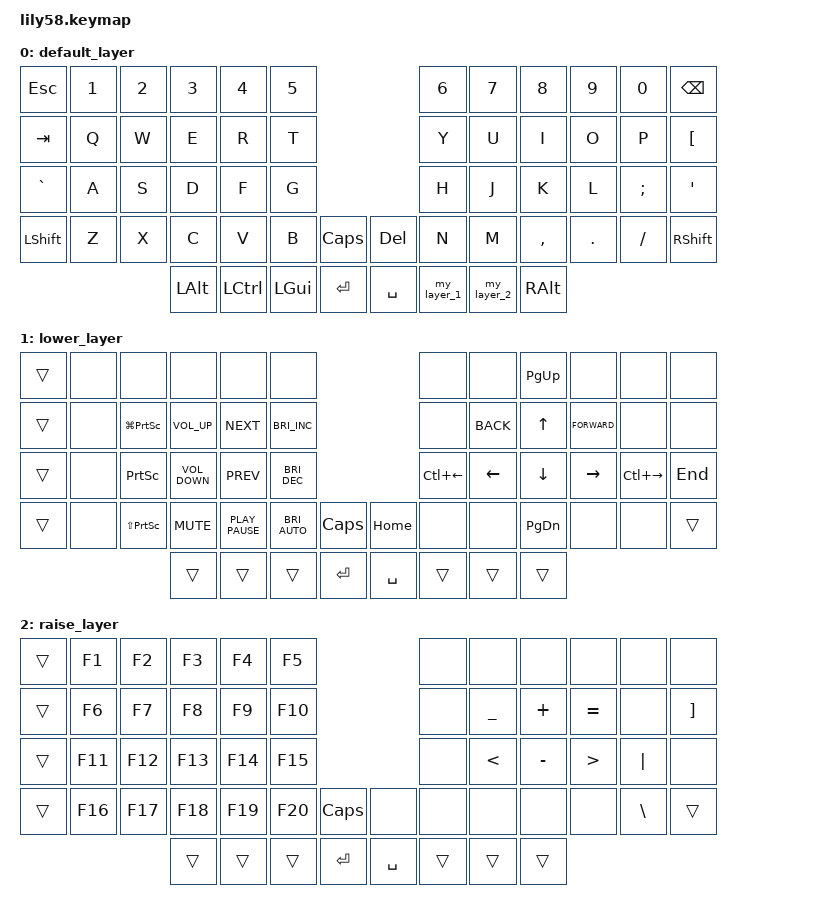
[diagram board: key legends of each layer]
/*
 * Copyright (c) 2020 The ZMK Contributors
 *
 * SPDX-License-Identifier: MIT
 */

#include <behaviors.dtsi>
#include <dt-bindings/zmk/keys.h>

/ {
    behaviors {
        my_alt: my_alt {
            compatible = "zmk,behavior-tap-dance";
            label = "MY_ALT";
            #binding-cells = <0>;
            bindings = <&kp LEFT_ALT>, <&kp LEFT_ALT>, <&sk LEFT_ALT>;

            tapping-term-ms = <270>;
        };

        my_ctrl: my_ctrl {
            compatible = "zmk,behavior-tap-dance";
            label = "MY_CTRL";
            #binding-cells = <0>;
            bindings = <&kp LCTRL>, <&kp LCTRL>, <&sk LCTRL>;

            tapping-term-ms = <270>;
        };

        my_super: my_super {
            compatible = "zmk,behavior-tap-dance";
            label = "MY_SUPER";
            #binding-cells = <0>;
            bindings = <&kp LEFT_GUI>, <&kp LEFT_GUI>, <&sk LEFT_GUI>;

            tapping-term-ms = <270>;
        };

        my_layer_1: my_layer_1 {
            compatible = "zmk,behavior-tap-dance";
            label = "MY_LAYER_1";
            #binding-cells = <0>;
            bindings = <&mo 1>, <&mo 1>, <&tog 1>;

            tapping-term-ms = <270>;
        };

        my_layer_2: my_layer_2 {
            compatible = "zmk,behavior-tap-dance";
            label = "MY_LAYER_2";
            #binding-cells = <0>;
            bindings = <&mo 2>, <&mo 2>, <&tog 2>;

            tapping-term-ms = <270>;
        };
    };

    keymap {
        compatible = "zmk,keymap";

        default_layer {
            // ------------------------------------------------------------------------------------------------------------
            // |  ESC  |  1  |  2  |  3   |  4   |  5   |                   |  6   |  7    |  8    |  9   |   0   |   `   |
            // |  TAB  |  Q  |  W  |  E   |  R   |  T   |                   |  Y   |  U    |  I    |  O   |   P   |   -   |
            // |  CTRL |  A  |  S  |  D   |  F   |  G   |                   |  H   |  J    |  K    |  L   |   ;   |   '   |
            // | SHIFT |  Z  |  X  |  C   |  V   |  B   |   "["  |  |  "]"  |  N   |  M    |  ,    |  .   |   /   | SHIFT |
            //                     | ALT  | GUI  | LOWER|  SPACE |  | ENTER | RAISE| BSPC  | GUI   |

            bindings = <
&kp ESC    &kp N1  &kp N2  &kp N3        &kp N4     &kp N5                                    &kp N6       &kp N7       &kp N8         &kp N9   &kp N0    &kp BACKSPACE
&kp TAB    &kp Q   &kp W   &kp E         &kp R      &kp T                                     &kp Y        &kp U        &kp I          &kp O    &kp P     &kp LEFT_BRACKET
&kp GRAVE  &kp A   &kp S   &kp D         &kp F      &kp G                                     &kp H        &kp J        &kp K          &kp L    &kp SEMI  &kp SQT
&kp LSHFT  &kp Z   &kp X   &kp C         &kp V      &kp B         &kp CAPSLOCK    &kp DELETE  &kp N        &kp M        &kp COMMA      &kp DOT  &kp FSLH  &kp RSHFT
                           &kp LEFT_ALT  &kp LCTRL  &kp LEFT_GUI  &kp ENTER       &kp SPACE   &my_layer_1  &my_layer_2  &kp RIGHT_ALT
            >;
        };

        lower_layer {
            // --------------------------------------------------------------------------------------------------------------
            // | LPAD  | BRDn | BRUp |  MUT |  Vo- |  Vo+ |                   |      |       |       |      |       |       |
            // |  F1   |  F2  |  F3  |  F4  |  F5  |  F6  |                   |  F7  |  F8   |  F9   |  F10 |  F11  |  F12  |
            // |   `   |  !   |  @   |  #   |  $   |  %   |                   |  ^   |  &    |  *    |  (   |   )   |   ~   |
            // |       |      |      |      |      |      |        |  |       |      |  _    |  +    |  {   |   }   |  "|"  |
            //                       |      |      |      |        |  |       |      |       |       |

            bindings = <
&trans  &none  &none                &none              &none             &none                                             &none         &none       &kp PAGE_UP    &none          &none                &none
&trans  &none  &kp LG(PRINTSCREEN)  &kp C_VOLUME_UP    &kp K_NEXT        &kp C_BRIGHTNESS_INC                              &none         &kp K_BACK  &kp UP         &kp K_FORWARD  &none                &none
&trans  &none  &kp PRINTSCREEN      &kp C_VOLUME_DOWN  &kp K_PREV        &kp C_BRIGHTNESS_DEC                              &kp LC(LEFT)  &kp LEFT    &kp DOWN       &kp RIGHT      &kp LC(RIGHT_ARROW)  &kp END
&trans  &none  &kp LS(PRINTSCREEN)  &kp K_MUTE         &kp K_PLAY_PAUSE  &kp C_BRIGHTNESS_AUTO  &kp CAPSLOCK    &kp HOME   &none         &none       &kp PAGE_DOWN  &none          &none                &trans
                                    &trans             &trans            &trans                 &kp ENTER       &kp SPACE  &trans        &trans      &trans
            >;
        };

        raise_layer {
            // ------------------------------------------------------------------------------------------------------------
            // |       |     |     |      |      |      |                   |      |       |       |      |       |       |
            // |   `   |  1  |  2  |  3   |  4   |  5   |                   |  6   |   7   |   8   |  9   |   0   |       |
            // |   F1  |  F2 |  F3 |  F4  |  F5  |  F6  |                   |      |   <-  |   v   |  ^   |  ->   |       |
            // |   F7  |  F8 |  F9 |  F10 |  F11 |  F12 |        |  |       |  +   |   -   |   =   |  [   |   ]   |   \   |
            //                     |      |      |      |        |  |       |      |       |       |

            bindings = <
&trans  &kp F1   &kp F2   &kp F3   &kp F4   &kp F5                              &none   &none           &none      &none             &none          &none
&trans  &kp F6   &kp F7   &kp F8   &kp F9   &kp F10                             &none   &kp UNDERSCORE  &kp PLUS   &kp EQUAL         &none          &kp RIGHT_BRACKET
&trans  &kp F11  &kp F12  &kp F13  &kp F14  &kp F15                             &none   &kp LESS_THAN   &kp MINUS  &kp GREATER_THAN  &kp PIPE       &none
&trans  &kp F16  &kp F17  &kp F18  &kp F19  &kp F20  &kp CAPSLOCK    &none      &none   &none           &none      &none             &kp BACKSLASH  &trans
                          &trans   &trans   &trans   &kp ENTER       &kp SPACE  &trans  &trans          &trans
            >;
        };
    };
};
